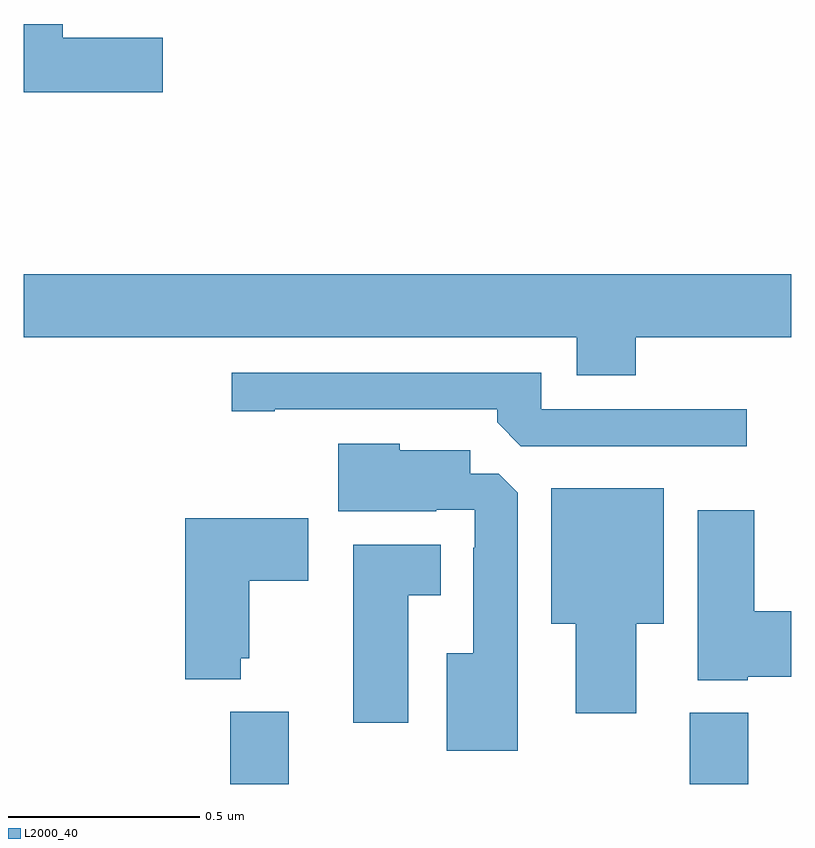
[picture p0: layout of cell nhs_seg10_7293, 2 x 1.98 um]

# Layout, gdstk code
import gdstk
lib = gdstk.Library(unit=1e-6, precision=1e-09)
def R(c, l, rs):  # rectangles x0, y0, x1, y1
    for r in rs: c.add(gdstk.rectangle(r[:2], r[2:], *l))
def P(c, l, *ps):  # polygons
    for p in ps: c.add(gdstk.Polygon(p, *l))
L2000_40 = (2000, 40)

nhs_seg10_7293 = lib.new_cell('nhs_seg10_7293')
R(nhs_seg10_7293, L2000_40, [(202.538,1284.5,202.69,1284.688), (203.735,1284.5,203.888,1284.685)])
P(nhs_seg10_7293, L2000_40, [(202.363,1286.444),(202.102,1286.444),(202.102,1286.48),(202,1286.48),(202,1286.302),(202.363,1286.302)],
  [(203.594,1285.664),(204,1285.664),(204,1285.828),(202,1285.828),(202,1285.664),(203.441,1285.664),(203.441,1285.565),(203.594,1285.565)],
  [(203.884,1285.476),(203.349,1285.476),(203.349,1285.572),(202.542,1285.572),(202.542,1285.471),(202.654,1285.471),(202.654,1285.476),(203.234,1285.476),(203.234,1285.442),(203.295,1285.38),(203.884,1285.38)],
  [(203.287,1285.259),(203.238,1285.308),(203.164,1285.308),(203.164,1285.369),(202.98,1285.369),(202.98,1285.387),(202.82,1285.387),(202.82,1285.211),(203.075,1285.211),(203.075,1285.215),(203.175,1285.215),(203.175,1285.115),(203.171,1285.115),(203.171,1284.841),(203.102,1284.841),(203.102,1284.587),(203.287,1284.587)],
  [(203.596,1284.917),(203.668,1284.917),(203.668,1285.27),(203.375,1285.27),(203.375,1284.917),(203.438,1284.917),(203.438,1284.684),(203.596,1284.684)],
  [(203.886,1284.779),(204,1284.779),(204,1284.95),(203.903,1284.95),(203.903,1285.213),(203.756,1285.213),(203.756,1284.77),(203.886,1284.77)],
  [(202.566,1284.827),(202.588,1284.827),(202.588,1285.03),(202.741,1285.03),(202.741,1285.192),(202.421,1285.192),(202.421,1284.773),(202.566,1284.773)],
  [(203.002,1284.992),(203.086,1284.992),(203.086,1285.123),(202.859,1285.123),(202.859,1284.66),(203.002,1284.66)])

lib.write_gds('nhs_seg10_7293.gds')
